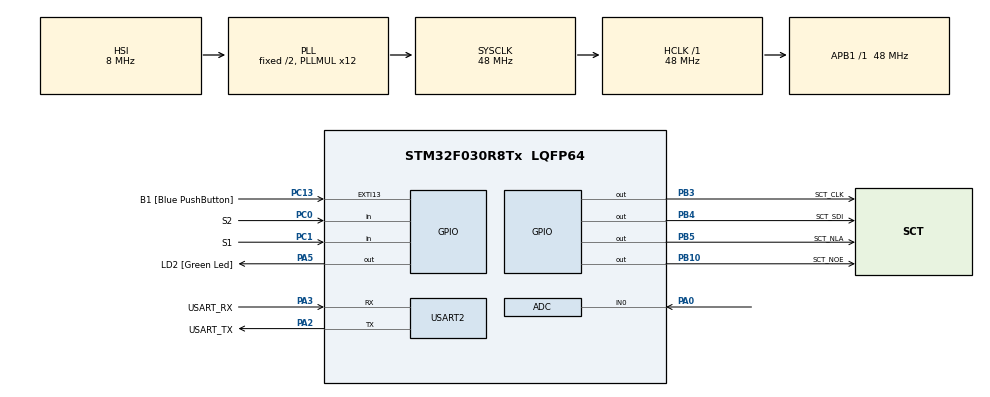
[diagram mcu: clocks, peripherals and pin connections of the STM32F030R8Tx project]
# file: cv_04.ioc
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ADC.ContinuousConvMode=ENABLE
ADC.Overrun=ADC_OVR_DATA_OVERWRITTEN
ADC.SamplingTime=ADC_SAMPLETIME_239CYCLES_5
Mcu.Family=STM32F0
Mcu.Name=STM32F030R8Tx
Mcu.Package=LQFP64
NVIC.ADC1_IRQn=true\:0\:0\:false\:false\:true\:true\:true
PA0.Mode=IN0
PA0.Signal=ADC_IN0
PA13.GPIO_Label=TMS
PA13.Mode=Serial_Wire
PA13.Signal=SYS_SWDIO
PA14.GPIO_Label=TCK
PA14.Mode=Serial_Wire
PA14.Signal=SYS_SWCLK
PA2.GPIO_Label=USART_TX
PA2.GPIO_Mode=GPIO_MODE_AF_PP
PA2.GPIO_PuPd=GPIO_NOPULL
PA2.GPIO_Speed=GPIO_SPEED_FREQ_LOW
PA2.Mode=Asynchronous
PA2.Signal=USART2_TX
PA3.GPIO_Label=USART_RX
PA3.GPIO_Mode=GPIO_MODE_AF_PP
PA3.GPIO_PuPd=GPIO_NOPULL
PA3.GPIO_Speed=GPIO_SPEED_FREQ_LOW
PA3.Mode=Asynchronous
PA3.Signal=USART2_RX
PA5.GPIO_Label=LD2 [Green Led]
PA5.GPIO_Mode=GPIO_MODE_OUTPUT_PP
PA5.GPIO_PuPd=GPIO_NOPULL
PA5.GPIO_Speed=GPIO_SPEED_FREQ_LOW
PA5.Signal=GPIO_Output
PB10.GPIO_Label=SCT_NOE
PB10.Signal=GPIO_Output
PB3.GPIO_Label=SCT_CLK
PB3.Signal=GPIO_Output
PB4.GPIO_Label=SCT_SDI
PB4.Signal=GPIO_Output
PB5.GPIO_Label=SCT_NLA
PB5.Signal=GPIO_Output
PC0.GPIO_Label=S2
PC0.GPIO_PuPd=GPIO_PULLUP
PC0.Signal=GPIO_Input
PC1.GPIO_Label=S1
PC1.GPIO_PuPd=GPIO_PULLUP
PC1.Signal=GPIO_Input
PC13.GPIO_Label=B1 [Blue PushButton]
PC13.GPIO_ModeDefaultEXTI=GPIO_MODE_IT_FALLING
PC13.Signal=GPXTI13
PC14-OSC32_IN.Mode=LSE-External-Oscillator
PC14-OSC32_IN.Signal=RCC_OSC32_IN
PC15-OSC32_OUT.Mode=LSE-External-Oscillator
PC15-OSC32_OUT.Signal=RCC_OSC32_OUT
PF0-OSC_IN.Mode=HSE-External-Clock-Source
PF0-OSC_IN.Signal=RCC_OSC_IN
PF1-OSC_OUT.Signal=RCC_OSC_OUT
ProjectManager.HeapSize=0x200
ProjectManager.StackSize=0x400
ProjectManager.TargetToolchain=STM32CubeIDE
RCC.AHBFreq_Value=48000000
RCC.APB1Freq_Value=48000000
RCC.APB1TimFreq_Value=48000000
RCC.HCLKFreq_Value=48000000
RCC.PLLMUL=RCC_PLL_MUL12
RCC.SYSCLKFreq_VALUE=48000000
RCC.SYSCLKSource=RCC_SYSCLKSOURCE_PLLCLK
USART2.VirtualMode-Asynchronous=VM_ASYNC
VP_ADC_TempSens_Input.Mode=IN-TempSens
VP_ADC_Vref_Input.Mode=IN-Vrefint
board=NUCLEO-F030R8

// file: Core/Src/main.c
/* USER CODE BEGIN Header */
/**
  ******************************************************************************
  * @file           : main.c
  * @brief          : Main program body
  ******************************************************************************
  * @attention
  *
  * <h2><center>&copy; Copyright (c) 2021 STMicroelectronics.
  * All rights reserved.</center></h2>
  *
  * This software component is licensed by ST under BSD 3-Clause license,
  * the "License"; You may not use this file except in compliance with the
  * License. You may obtain a copy of the License at:
  *                        opensource.org/licenses/BSD-3-Clause
  *
  ******************************************************************************
  */
/* USER CODE END Header */
#include "main.h"

/* USER CODE BEGIN Includes */
#include "sct.h"
/* USER CODE END Includes */

/* USER CODE BEGIN PD */
#define ADC_Q 14

/* Temperature sensor calibration value address */
#define TEMP110_CAL_ADDR ((uint16_t*) ((uint32_t) 0x1FFFF7C2))
#define TEMP30_CAL_ADDR ((uint16_t*) ((uint32_t) 0x1FFFF7B8))

/* Internal voltage reference calibration value address */
#define VREFINT_CAL_ADDR ((uint16_t*) ((uint32_t) 0x1FFFF7BA))

/* USER CODE END PD */

ADC_HandleTypeDef hadc;

UART_HandleTypeDef huart2;

void SystemClock_Config(void);
static void MX_GPIO_Init(void);
static void MX_USART2_UART_Init(void);
static void MX_ADC_Init(void);

/* USER CODE BEGIN 0 */
static volatile uint32_t raw_pot;
static volatile uint32_t raw_temp;
static volatile uint32_t raw_volt;
static uint32_t avg_pot;
static uint8_t channel;
void HAL_ADC_ConvCpltCallback(ADC_HandleTypeDef* hadc)
{
   if(channel == 0){
	  raw_pot = avg_pot >> ADC_Q;
	  avg_pot -= raw_pot;
	  avg_pot += HAL_ADC_GetValue(hadc);
  }
  else if(channel == 1) raw_temp = HAL_ADC_GetValue(hadc);
  else if(channel == 2) raw_volt = HAL_ADC_GetValue(hadc);

  if (__HAL_ADC_GET_FLAG(hadc, ADC_FLAG_EOS)) channel = 0;
    else channel++;
}

/* USER CODE END 0 */

int main(void)
{

  /* MCU Configuration--------------------------------------------------------*/

  /* Reset of all peripherals, Initializes the Flash interface and the Systick. */
  HAL_Init();

  /* USER CODE BEGIN Init */

  uint16_t value;
  uint8_t led;
  uint32_t voltage;
  int32_t temperature;
  uint32_t tick;
  static enum { SHOW_POT, SHOW_VOLT, SHOW_TEMP } state = SHOW_POT;
  /* USER CODE END Init */

  /* Configure the system clock */
  SystemClock_Config();

  /* Initialize all configured peripherals */
  MX_GPIO_Init();
  MX_USART2_UART_Init();
  MX_ADC_Init();
  /* USER CODE BEGIN 2 */
  HAL_ADCEx_Calibration_Start(&hadc);
  HAL_ADC_Start_IT(&hadc);
  /* USER CODE END 2 */

  /* Infinite loop */
  /* USER CODE BEGIN WHILE */
  while (1)
  {
	  switch (state) {
		case SHOW_POT:
			value = (raw_pot*500)/4096;
		    led   = (raw_pot*9)/4096;
		    sct_value(value, led);
			break;
		case SHOW_VOLT:
			voltage = 330 * (*VREFINT_CAL_ADDR) / raw_volt;
			sct_value(voltage, 0);
			break;
		case SHOW_TEMP:
			temperature = (raw_temp - (int32_t)(*TEMP30_CAL_ADDR));
			temperature = temperature * (int32_t)(110 - 30);
			temperature = temperature / (int32_t)(*TEMP110_CAL_ADDR - *TEMP30_CAL_ADDR);
			temperature = temperature + 30;
			sct_value(temperature, 0);
		default:
			break;
	}
	if(!HAL_GPIO_ReadPin(S1_GPIO_Port,S1_Pin)){
		state = SHOW_VOLT;
		tick = HAL_GetTick();
	}

	if(!HAL_GPIO_ReadPin(S2_GPIO_Port,S2_Pin)){
		state = SHOW_TEMP;
		tick = HAL_GetTick();
	}
	if(HAL_GetTick() >= tick+1000){
		state = SHOW_POT;
	}
  /* USER CODE END WHILE */

  }
}

void SystemClock_Config(void)
{
  RCC_OscInitTypeDef RCC_OscInitStruct = {0};
  RCC_ClkInitTypeDef RCC_ClkInitStruct = {0};

  /** Initializes the RCC Oscillators according to the specified parameters
  * in the RCC_OscInitTypeDef structure.
  */
  RCC_OscInitStruct.OscillatorType = RCC_OSCILLATORTYPE_HSI|RCC_OSCILLATORTYPE_HSI14;
  RCC_OscInitStruct.HSIState = RCC_HSI_ON;
  RCC_OscInitStruct.HSI14State = RCC_HSI14_ON;
  RCC_OscInitStruct.HSICalibrationValue = RCC_HSICALIBRATION_DEFAULT;
  RCC_OscInitStruct.HSI14CalibrationValue = 16;
  RCC_OscInitStruct.PLL.PLLState = RCC_PLL_ON;
  RCC_OscInitStruct.PLL.PLLSource = RCC_PLLSOURCE_HSI;
  RCC_OscInitStruct.PLL.PLLMUL = RCC_PLL_MUL12;
  RCC_OscInitStruct.PLL.PREDIV = RCC_PREDIV_DIV1;
  if (HAL_RCC_OscConfig(&RCC_OscInitStruct) != HAL_OK)
  {
    Error_Handler();
  }
  /** Initializes the CPU, AHB and APB buses clocks
  */
  RCC_ClkInitStruct.ClockType = RCC_CLOCKTYPE_HCLK|RCC_CLOCKTYPE_SYSCLK
                              |RCC_CLOCKTYPE_PCLK1;
  RCC_ClkInitStruct.SYSCLKSource = RCC_SYSCLKSOURCE_PLLCLK;
  RCC_ClkInitStruct.AHBCLKDivider = RCC_SYSCLK_DIV1;
  RCC_ClkInitStruct.APB1CLKDivider = RCC_HCLK_DIV1;

  if (HAL_RCC_ClockConfig(&RCC_ClkInitStruct, FLASH_LATENCY_1) != HAL_OK)
  {
    Error_Handler();
  }
}

static void MX_ADC_Init(void)
{

  ADC_ChannelConfTypeDef sConfig = {0};

  /** Configure the global features of the ADC (Clock, Resolution, Data Alignment and number of conversion)
  */
  hadc.Instance = ADC1;
  hadc.Init.ClockPrescaler = ADC_CLOCK_ASYNC_DIV1;
  hadc.Init.Resolution = ADC_RESOLUTION_12B;
  hadc.Init.DataAlign = ADC_DATAALIGN_RIGHT;
  hadc.Init.ScanConvMode = ADC_SCAN_DIRECTION_FORWARD;
  hadc.Init.EOCSelection = ADC_EOC_SINGLE_CONV;
  hadc.Init.LowPowerAutoWait = DISABLE;
  hadc.Init.LowPowerAutoPowerOff = DISABLE;
  hadc.Init.ContinuousConvMode = ENABLE;
  hadc.Init.DiscontinuousConvMode = DISABLE;
  hadc.Init.ExternalTrigConv = ADC_SOFTWARE_START;
  hadc.Init.ExternalTrigConvEdge = ADC_EXTERNALTRIGCONVEDGE_NONE;
  hadc.Init.DMAContinuousRequests = DISABLE;
  hadc.Init.Overrun = ADC_OVR_DATA_OVERWRITTEN;
  if (HAL_ADC_Init(&hadc) != HAL_OK)
  {
    Error_Handler();
  }
  /** Configure for the selected ADC regular channel to be converted.
  */
  sConfig.Channel = ADC_CHANNEL_0;
  sConfig.Rank = ADC_RANK_CHANNEL_NUMBER;
  sConfig.SamplingTime = ADC_SAMPLETIME_239CYCLES_5;
  if (HAL_ADC_ConfigChannel(&hadc, &sConfig) != HAL_OK)
  {
    Error_Handler();
  }
  /** Configure for the selected ADC regular channel to be converted.
  */
  sConfig.Channel = ADC_CHANNEL_TEMPSENSOR;
  if (HAL_ADC_ConfigChannel(&hadc, &sConfig) != HAL_OK)
  {
    Error_Handler();
  }
  /** Configure for the selected ADC regular channel to be converted.
  */
  sConfig.Channel = ADC_CHANNEL_VREFINT;
  if (HAL_ADC_ConfigChannel(&hadc, &sConfig) != HAL_OK)
  {
    Error_Handler();
  }

}

static void MX_USART2_UART_Init(void)
{

  huart2.Instance = USART2;
  huart2.Init.BaudRate = 38400;
  huart2.Init.WordLength = UART_WORDLENGTH_8B;
  huart2.Init.StopBits = UART_STOPBITS_1;
  huart2.Init.Parity = UART_PARITY_NONE;
  huart2.Init.Mode = UART_MODE_TX_RX;
  huart2.Init.HwFlowCtl = UART_HWCONTROL_NONE;
  huart2.Init.OverSampling = UART_OVERSAMPLING_16;
  huart2.Init.OneBitSampling = UART_ONE_BIT_SAMPLE_DISABLE;
  huart2.AdvancedInit.AdvFeatureInit = UART_ADVFEATURE_NO_INIT;
  if (HAL_UART_Init(&huart2) != HAL_OK)
  {
    Error_Handler();
  }

}

static void MX_GPIO_Init(void)
{
  GPIO_InitTypeDef GPIO_InitStruct = {0};

  /* GPIO Ports Clock Enable */
  __HAL_RCC_GPIOC_CLK_ENABLE();
  __HAL_RCC_GPIOF_CLK_ENABLE();
  __HAL_RCC_GPIOA_CLK_ENABLE();
  __HAL_RCC_GPIOB_CLK_ENABLE();

  /*Configure GPIO pin Output Level */
  HAL_GPIO_WritePin(LD2_GPIO_Port, LD2_Pin, GPIO_PIN_RESET);

  /*Configure GPIO pin Output Level */
  HAL_GPIO_WritePin(GPIOB, SCT_NOE_Pin|SCT_CLK_Pin|SCT_SDI_Pin|SCT_NLA_Pin, GPIO_PIN_RESET);

  /*Configure GPIO pin : B1_Pin */
  GPIO_InitStruct.Pin = B1_Pin;
  GPIO_InitStruct.Mode = GPIO_MODE_IT_FALLING;
  GPIO_InitStruct.Pull = GPIO_NOPULL;
  HAL_GPIO_Init(B1_GPIO_Port, &GPIO_InitStruct);

  /*Configure GPIO pins : S2_Pin S1_Pin */
  GPIO_InitStruct.Pin = S2_Pin|S1_Pin;
  GPIO_InitStruct.Mode = GPIO_MODE_INPUT;
  GPIO_InitStruct.Pull = GPIO_PULLUP;
  HAL_GPIO_Init(GPIOC, &GPIO_InitStruct);

  /*Configure GPIO pin : LD2_Pin */
  GPIO_InitStruct.Pin = LD2_Pin;
  GPIO_InitStruct.Mode = GPIO_MODE_OUTPUT_PP;
  GPIO_InitStruct.Pull = GPIO_NOPULL;
  GPIO_InitStruct.Speed = GPIO_SPEED_FREQ_LOW;
  HAL_GPIO_Init(LD2_GPIO_Port, &GPIO_InitStruct);

  /*Configure GPIO pins : SCT_NOE_Pin SCT_CLK_Pin SCT_SDI_Pin SCT_NLA_Pin */
  GPIO_InitStruct.Pin = SCT_NOE_Pin|SCT_CLK_Pin|SCT_SDI_Pin|SCT_NLA_Pin;
  GPIO_InitStruct.Mode = GPIO_MODE_OUTPUT_PP;
  GPIO_InitStruct.Pull = GPIO_NOPULL;
  GPIO_InitStruct.Speed = GPIO_SPEED_FREQ_LOW;
  HAL_GPIO_Init(GPIOB, &GPIO_InitStruct);

}

void Error_Handler(void)
{
  __disable_irq();
  while (1)
  {
  }
}

/************************ (C) COPYRIGHT STMicroelectronics *****END OF FILE****/
